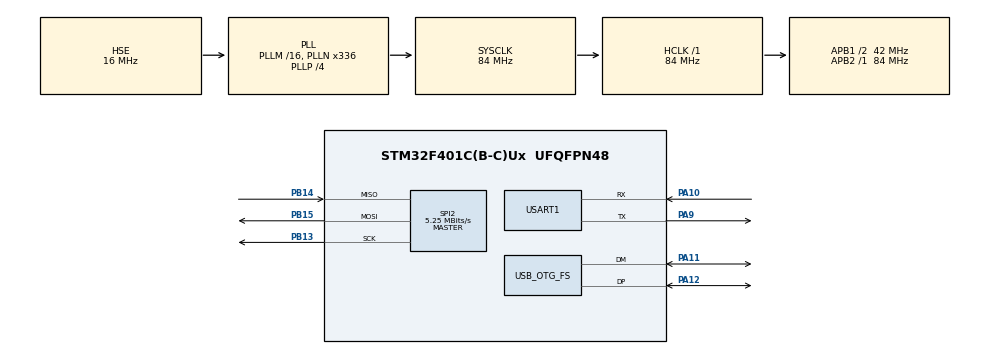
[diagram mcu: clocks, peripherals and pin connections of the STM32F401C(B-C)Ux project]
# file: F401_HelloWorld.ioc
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FREERTOS.Tasks01=defaultTask,24,128,StartDefaultTask,Default,NULL,Dynamic,NULL,NULL
FREERTOS.configCHECK_FOR_STACK_OVERFLOW=2
FREERTOS.configENABLE_FPU=1
FREERTOS.configTOTAL_HEAP_SIZE=8192
Mcu.Family=STM32F4
Mcu.Name=STM32F401C(B-C)Ux
Mcu.Package=UFQFPN48
NVIC.OTG_FS_IRQn=true\:5\:0\:false\:false\:true\:true\:false\:true\:true
NVIC.PriorityGroup=NVIC_PRIORITYGROUP_4
NVIC.TIM2_IRQn=true\:15\:0\:false\:false\:true\:false\:false\:true\:true
NVIC.TimeBase=TIM2_IRQn
NVIC.TimeBaseIP=TIM2
PA0-WKUP.Mode=SYS_WakeUp0
PA0-WKUP.Signal=SYS_WKUP
PA10.Mode=Asynchronous
PA10.Signal=USART1_RX
PA11.Mode=Device_Only
PA11.Signal=USB_OTG_FS_DM
PA12.Mode=Device_Only
PA12.Signal=USB_OTG_FS_DP
PA13.Mode=Serial_Wire
PA13.Signal=SYS_JTMS-SWDIO
PA14.Mode=Serial_Wire
PA14.Signal=SYS_JTCK-SWCLK
PA9.Mode=Asynchronous
PA9.Signal=USART1_TX
PB13.Mode=Full_Duplex_Master
PB13.Signal=SPI2_SCK
PB14.Mode=Full_Duplex_Master
PB14.Signal=SPI2_MISO
PB15.Mode=Full_Duplex_Master
PB15.Signal=SPI2_MOSI
PH0\ -\ OSC_IN.Mode=HSE-External-Oscillator
PH0\ -\ OSC_IN.Signal=RCC_OSC_IN
PH1\ -\ OSC_OUT.Mode=HSE-External-Oscillator
PH1\ -\ OSC_OUT.Signal=RCC_OSC_OUT
ProjectManager.HeapSize=0x200
ProjectManager.StackSize=0x400
ProjectManager.TargetToolchain=STM32CubeIDE
RCC.48MHZClocksFreq_Value=48000000
RCC.AHBFreq_Value=84000000
RCC.APB1CLKDivider=RCC_HCLK_DIV2
RCC.APB1Freq_Value=42000000
RCC.APB1TimFreq_Value=84000000
RCC.APB2Freq_Value=84000000
RCC.APB2TimFreq_Value=84000000
RCC.CortexFreq_Value=84000000
RCC.HCLKFreq_Value=84000000
RCC.HSE_VALUE=16000000
RCC.HSI_VALUE=16000000
RCC.LSE_VALUE=32768
RCC.PLLN=336
RCC.PLLP=RCC_PLLP_DIV4
RCC.PLLQ=7
RCC.SYSCLKFreq_VALUE=84000000
RCC.SYSCLKSource=RCC_SYSCLKSOURCE_PLLCLK
RCC.VCOOutputFreq_Value=336000000
SPI2.BaudRatePrescaler=SPI_BAUDRATEPRESCALER_8
SPI2.CLKPhase=SPI_PHASE_2EDGE
SPI2.CLKPolarity=SPI_POLARITY_HIGH
SPI2.CalculateBaudRate=5.25 MBits/s
SPI2.Direction=SPI_DIRECTION_2LINES
SPI2.Mode=SPI_MODE_MASTER
SPI2.VirtualType=VM_MASTER
USART1.VirtualMode=VM_ASYNC
USB_DEVICE.CLASS_NAME_FS=CDC
USB_DEVICE.VirtualMode=Cdc
USB_DEVICE.VirtualModeFS=Cdc_FS
USB_OTG_FS.VirtualMode=Device_Only
VP_FREERTOS_VS_CMSIS_V2.Mode=CMSIS_V2
VP_SYS_VS_tim2.Mode=TIM2
VP_USB_DEVICE_VS_USB_DEVICE_CDC_FS.Mode=CDC_FS
board=custom

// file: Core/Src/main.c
/* USER CODE BEGIN Header */
/**
 ******************************************************************************
 * @file           : main.c
 * @brief          : Main program body
 ******************************************************************************
 * @attention
 *
 * Copyright (c) 2026 STMicroelectronics.
 * All rights reserved.
 *
 * This software is licensed under terms that can be found in the LICENSE file
 * in the root directory of this software component.
 * If no LICENSE file comes with this software, it is provided AS-IS.
 *
 ******************************************************************************
 */
/* USER CODE END Header */
#include "main.h"
#include "cmsis_os.h"
#include "usb_device.h"
#include "FreeRTOS.h"
/* USER CODE BEGIN Includes */
#include "lsm6dsr.h"

/* USER CODE END Includes */

SPI_HandleTypeDef hspi2;

UART_HandleTypeDef huart1;

/* Definitions for defaultTask */
osThreadId_t defaultTaskHandle;
const osThreadAttr_t defaultTask_attributes = {.name = "defaultTask", .stack_size = 128
		* 4, .priority = (osPriority_t) osPriorityNormal, };

void SystemClock_Config(void);
static void MX_GPIO_Init(void);
static void MX_SPI2_Init(void);
static void MX_USART1_UART_Init(void);
void StartDefaultTask(void *argument);

extern void applicationInit();

/* USER CODE BEGIN PFP */
static int32_t MX_LSM6DSR_Init(void);
void MX_PA8_CS_Init(void);
void MX_PC13_CS_Init(void);
void MX_PB4_5_LED_Init(void);
static void imu_uart_send_line(float ax_g, float ay_g, float az_g, float gx_dps,
		float gy_dps, float gz_dps);
void MX_PB6789_MOTOR_Init();
/* USER CODE END PFP */

/* USER CODE BEGIN 0 */

int main(void)
{
	HAL_Init();
	SystemClock_Config();
	MX_GPIO_Init();
	MX_USART1_UART_Init();
	MX_PA8_CS_Init();
	MX_PC13_CS_Init();
	MX_SPI2_Init();
	MX_PB4_5_LED_Init();
//	MX_PB6789_MOTOR_Init();

	osKernelInitialize();

	applicationInit();

	osKernelStart();

	while (1);

}

void MX_PB6789_MOTOR_Init(void)
{
	GPIO_InitTypeDef GPIO_InitStruct = {0};

	/* Enable GPIOA clock */
	__HAL_RCC_GPIOB_CLK_ENABLE();
	/* Set CS high before fully configuring, so the sensor stays deselected */
	HAL_GPIO_WritePin(GPIOB, GPIO_PIN_6, GPIO_PIN_SET);
	HAL_GPIO_WritePin(GPIOB, GPIO_PIN_7, GPIO_PIN_SET);
	HAL_GPIO_WritePin(GPIOB, GPIO_PIN_8, GPIO_PIN_SET);
	HAL_GPIO_WritePin(GPIOB, GPIO_PIN_9, GPIO_PIN_SET);

	/* Configure PB6 as output push-pull */
	GPIO_InitStruct.Pin = GPIO_PIN_6;
	GPIO_InitStruct.Mode = GPIO_MODE_OUTPUT_PP;
	GPIO_InitStruct.Pull = GPIO_PULLDOWN;
	GPIO_InitStruct.Speed = GPIO_SPEED_FREQ_MEDIUM;
	HAL_GPIO_Init(GPIOB, &GPIO_InitStruct);
//
//	/* Configure PB7 as output push-pull */
	GPIO_InitStruct.Pin = GPIO_PIN_7;
	GPIO_InitStruct.Mode = GPIO_MODE_OUTPUT_PP;
	GPIO_InitStruct.Pull = GPIO_PULLDOWN;
	GPIO_InitStruct.Speed = GPIO_SPEED_FREQ_MEDIUM;
	HAL_GPIO_Init(GPIOB, &GPIO_InitStruct);
//
//	/* Configure PB8 as output push-pull */
	GPIO_InitStruct.Pin = GPIO_PIN_8;
	GPIO_InitStruct.Mode = GPIO_MODE_OUTPUT_PP;
	GPIO_InitStruct.Pull = GPIO_PULLDOWN;
	GPIO_InitStruct.Speed = GPIO_SPEED_FREQ_MEDIUM;
	HAL_GPIO_Init(GPIOB, &GPIO_InitStruct);

	/* Configure PB9 as output push-pull */
	GPIO_InitStruct.Pin = GPIO_PIN_9;
	GPIO_InitStruct.Mode = GPIO_MODE_OUTPUT_PP;
	GPIO_InitStruct.Pull = GPIO_PULLDOWN;
	GPIO_InitStruct.Speed = GPIO_SPEED_FREQ_MEDIUM;
	HAL_GPIO_Init(GPIOB, &GPIO_InitStruct);

}

void MX_PA8_CS_Init(void)
{
	GPIO_InitTypeDef GPIO_InitStruct = {0};

	/* Enable GPIOA clock */
	__HAL_RCC_GPIOA_CLK_ENABLE();
	/* Set CS high before fully configuring, so the sensor stays deselected */
	HAL_GPIO_WritePin(GPIOA, GPIO_PIN_8, GPIO_PIN_SET);

	/* Configure PA8 as output push-pull */
	GPIO_InitStruct.Pin = GPIO_PIN_8;
	GPIO_InitStruct.Mode = GPIO_MODE_OUTPUT_PP;
	GPIO_InitStruct.Pull = GPIO_NOPULL;
	GPIO_InitStruct.Speed = GPIO_SPEED_FREQ_HIGH;
	HAL_GPIO_Init(GPIOA, &GPIO_InitStruct);
}

/**
 * @brief Configures CS for LPS22HH sensor
 */
void MX_PC13_CS_Init(void)
{
	GPIO_InitTypeDef GPIO_InitStruct = {0};

	/* Enable GPIOA clock */
	__HAL_RCC_GPIOC_CLK_ENABLE();
	/* Set CS high before fully configuring, so the sensor stays deselected */
	HAL_GPIO_WritePin(GPIOC, GPIO_PIN_13, GPIO_PIN_SET);

	/* Configure PC13 as output push-pull */
	GPIO_InitStruct.Pin = GPIO_PIN_13;
	GPIO_InitStruct.Mode = GPIO_MODE_OUTPUT_PP;
	GPIO_InitStruct.Pull = GPIO_NOPULL;
	GPIO_InitStruct.Speed = GPIO_SPEED_FREQ_HIGH;
	HAL_GPIO_Init(GPIOC, &GPIO_InitStruct);
}

/**
 * @brief Configure PB4 and PB5 for user LEDs
 */
void MX_PB4_5_LED_Init(void)
{
	GPIO_InitTypeDef GPIO_InitStruct = {0};

	/* Enable GPIOA clock */
	__HAL_RCC_GPIOB_CLK_ENABLE();
	/* Set CS high before fully configuring, so the sensor stays deselected */
	HAL_GPIO_WritePin(GPIOB, GPIO_PIN_4, GPIO_PIN_SET);
	HAL_GPIO_WritePin(GPIOB, GPIO_PIN_5, GPIO_PIN_SET);

	/* Configure PB4 as output push-pull */
	GPIO_InitStruct.Pin = GPIO_PIN_4;
	GPIO_InitStruct.Mode = GPIO_MODE_OUTPUT_PP;
	GPIO_InitStruct.Pull = GPIO_PULLDOWN;
	GPIO_InitStruct.Speed = GPIO_SPEED_FREQ_HIGH;
	HAL_GPIO_Init(GPIOB, &GPIO_InitStruct);

	GPIO_InitStruct.Pin = GPIO_PIN_5;
	GPIO_InitStruct.Mode = GPIO_MODE_OUTPUT_PP;
	GPIO_InitStruct.Pull = GPIO_PULLDOWN;
	GPIO_InitStruct.Speed = GPIO_SPEED_FREQ_HIGH;
	HAL_GPIO_Init(GPIOB, &GPIO_InitStruct);

}

void SystemClock_Config(void)
{
	RCC_OscInitTypeDef RCC_OscInitStruct = {0};
	RCC_ClkInitTypeDef RCC_ClkInitStruct = {0};

	/** Configure the main internal regulator output voltage
	 */
	__HAL_RCC_PWR_CLK_ENABLE();
	__HAL_PWR_VOLTAGESCALING_CONFIG(PWR_REGULATOR_VOLTAGE_SCALE2);

	/** Initializes the RCC Oscillators according to the specified parameters
	 * in the RCC_OscInitTypeDef structure.
	 */
	RCC_OscInitStruct.OscillatorType = RCC_OSCILLATORTYPE_HSE;
	RCC_OscInitStruct.HSEState = RCC_HSE_ON;
	RCC_OscInitStruct.PLL.PLLState = RCC_PLL_ON;
	RCC_OscInitStruct.PLL.PLLSource = RCC_PLLSOURCE_HSE;
	RCC_OscInitStruct.PLL.PLLM = 16;
	RCC_OscInitStruct.PLL.PLLN = 336;
	RCC_OscInitStruct.PLL.PLLP = RCC_PLLP_DIV4;
	RCC_OscInitStruct.PLL.PLLQ = 7;
	if (HAL_RCC_OscConfig(&RCC_OscInitStruct) != HAL_OK)
	{
		Error_Handler();
	}

	/** Initializes the CPU, AHB and APB buses clocks
	 */
	RCC_ClkInitStruct.ClockType = RCC_CLOCKTYPE_HCLK | RCC_CLOCKTYPE_SYSCLK
			| RCC_CLOCKTYPE_PCLK1 | RCC_CLOCKTYPE_PCLK2;
	RCC_ClkInitStruct.SYSCLKSource = RCC_SYSCLKSOURCE_PLLCLK;
	RCC_ClkInitStruct.AHBCLKDivider = RCC_SYSCLK_DIV1;
	RCC_ClkInitStruct.APB1CLKDivider = RCC_HCLK_DIV2;
	RCC_ClkInitStruct.APB2CLKDivider = RCC_HCLK_DIV1;

	if (HAL_RCC_ClockConfig(&RCC_ClkInitStruct, FLASH_LATENCY_2) != HAL_OK)
	{
		Error_Handler();
	}
}

static void MX_SPI2_Init(void)
{

	/* SPI2 parameter configuration*/
	hspi2.Instance = SPI2;
	hspi2.Init.Mode = SPI_MODE_MASTER;
	hspi2.Init.Direction = SPI_DIRECTION_2LINES;
	hspi2.Init.DataSize = SPI_DATASIZE_8BIT;
	hspi2.Init.CLKPolarity = SPI_POLARITY_HIGH;
	hspi2.Init.CLKPhase = SPI_PHASE_2EDGE;
	hspi2.Init.NSS = SPI_NSS_SOFT;
	hspi2.Init.BaudRatePrescaler = SPI_BAUDRATEPRESCALER_8;
	hspi2.Init.FirstBit = SPI_FIRSTBIT_MSB;
	hspi2.Init.TIMode = SPI_TIMODE_DISABLE;
	hspi2.Init.CRCCalculation = SPI_CRCCALCULATION_DISABLE;
	hspi2.Init.CRCPolynomial = 10;
	if (HAL_SPI_Init(&hspi2) != HAL_OK)
	{
		Error_Handler();
	}

}

static void MX_USART1_UART_Init(void)
{

	huart1.Instance = USART1;
	huart1.Init.BaudRate = 115200;
	huart1.Init.WordLength = UART_WORDLENGTH_8B;
	huart1.Init.StopBits = UART_STOPBITS_1;
	huart1.Init.Parity = UART_PARITY_NONE;
	huart1.Init.Mode = UART_MODE_TX_RX;
	huart1.Init.HwFlowCtl = UART_HWCONTROL_NONE;
	huart1.Init.OverSampling = UART_OVERSAMPLING_16;
	if (HAL_UART_Init(&huart1) != HAL_OK)
	{
		Error_Handler();
	}

}

static void MX_GPIO_Init(void)
{

	/* GPIO Ports Clock Enable */
	__HAL_RCC_GPIOH_CLK_ENABLE();
	__HAL_RCC_GPIOA_CLK_ENABLE();
	__HAL_RCC_GPIOB_CLK_ENABLE();

}

void StartDefaultTask(void *argument)
{
	/* init code for USB_DEVICE */
	MX_USB_DEVICE_Init();
	for (;;)
	{
		osDelay(1);
	}
}

void HAL_TIM_PeriodElapsedCallback(TIM_HandleTypeDef *htim)
{
	if (htim->Instance == TIM2)
	{
		HAL_IncTick();
	}
}

void Error_Handler(void)
{
	__disable_irq();
	while (1)
	{
	}
}

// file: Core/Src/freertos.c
/* USER CODE BEGIN Header */
/**
  ******************************************************************************
  * File Name          : freertos.c
  * Description        : Code for freertos applications
  ******************************************************************************
  * @attention
  *
  * Copyright (c) 2026 STMicroelectronics.
  * All rights reserved.
  *
  * This software is licensed under terms that can be found in the LICENSE file
  * in the root directory of this software component.
  * If no LICENSE file comes with this software, it is provided AS-IS.
  *
  ******************************************************************************
  */
/* USER CODE END Header */

#include "FreeRTOS.h"
#include "task.h"
#include "main.h"
#include <stdio.h>

/* USER CODE BEGIN Includes */
#include "cmsis_os2.h"
#include <stdbool.h>
#include "lsm6dsr.h"
#include "lps22hh.h"
#include <string.h>
#include <math.h>
#include <assert.h>

#define USER_LED_1_PORT (GPIOB)
#define USER_LED_2_PORT (GPIOB)
#define USER_LED_1_PIN  (GPIO_PIN_4)
#define USER_LED_2_PIN  (GPIO_PIN_5)

#define IMU_CS_PORT  GPIOA
#define IMU_CS_PIN   GPIO_PIN_8
#define BARO_CS_PORT GPIOC
#define BARO_CS_PIN  GPIO_PIN_13

#define IMU_TASK_PERIOD_MS (10)
#define IMU_TASK_PERIOD_S  (10.0f / 1000.0f)

#define GRAVITY_MPS2  (9.80665f)
#define DEG_TO_RAD    (0.01745329252f)
#define SEA_LEVEL_HPA (1013.25f)

extern SPI_HandleTypeDef hspi2;
extern UART_HandleTypeDef huart1;

static void imu_stats_send_line(void);

typedef struct
{
	SPI_HandleTypeDef *hspi;
	GPIO_TypeDef *cs_port;
	uint16_t cs_pin;
} spi_device_t;

typedef struct
{
	uint32_t timestamp_us;

	int32_t accel_x_mg;
	int32_t accel_y_mg;
	int32_t accel_z_mg;

	int32_t gyro_x_mdps;
	int32_t gyro_y_mdps;
	int32_t gyro_z_mdps;

	uint8_t accel_ready;
	uint8_t gyro_ready;
} raw_imu_sample_t;

typedef struct
{
	uint32_t timestamp_us;

	float accel_x_g;
	float accel_y_g;
	float accel_z_g;

	float accel_x_mps2;
	float accel_y_mps2;
	float accel_z_mps2;

	float gyro_x_dps;
	float gyro_y_dps;
	float gyro_z_dps;

	float gyro_x_rps;
	float gyro_y_rps;
	float gyro_z_rps;
} processed_imu_sample_t;

typedef struct
{
	uint32_t timestamp_us;

	float pressure_hpa;
	float temperature_c;

	uint8_t pressure_ready;
	uint8_t temperature_ready;
} raw_baro_sample_t;

typedef struct
{
	uint32_t timestamp_us;

	float pressure_hpa;
	float temperature_c;
	float altitude_m;
} processed_baro_sample_t;

/*typedef enum
{
    DEBUG_OUT_RAW_IMU = 0,
    DEBUG_OUT_PROC_IMU,
    DEBUG_OUT_PROC_BARO
} debug_output_mode_t; */

typedef enum
{
    DEBUG_OUT_RAW_IMU = 0,
    DEBUG_OUT_PROC_IMU,
    DEBUG_OUT_PROC_BARO,
    DEBUG_OUT_STAT
} debug_output_mode_t;

static volatile debug_output_mode_t g_debug_output_mode = DEBUG_OUT_RAW_IMU;  // chnage this to whicheverr macro absed on what u wanna see

static LSM6DSR_Object_t MotionSensor;
static LPS22HH_Object_t BaroSensor;

static spi_device_t imu_dev  = { .hspi = &hspi2, .cs_port = IMU_CS_PORT,  .cs_pin = IMU_CS_PIN };
static spi_device_t baro_dev = { .hspi = &hspi2, .cs_port = BARO_CS_PORT, .cs_pin = BARO_CS_PIN };

static raw_imu_sample_t       g_raw_imu       = {0};
static processed_imu_sample_t g_processed_imu = {0};
static raw_baro_sample_t      g_raw_baro      = {0};
static processed_baro_sample_t g_processed_baro = {0};

static float g_gyro_bias_x_mdps = 0.0f;
static float g_gyro_bias_y_mdps = 0.0f;
static float g_gyro_bias_z_mdps = 0.0f;

static uint32_t g_imu_task_loops  = 0;
static uint32_t g_acc_ready_count = 0;
static uint32_t g_gyro_ready_count = 0;
static uint32_t g_acc_read_count  = 0;
static uint32_t g_gyro_read_count = 0;

static inline void setUserLEDOne(uint8_t state)
{
	HAL_GPIO_WritePin(USER_LED_1_PORT, USER_LED_1_PIN, state ? GPIO_PIN_RESET : GPIO_PIN_SET);
}

static inline void setUserLEDTwo(uint8_t state)
{
	HAL_GPIO_WritePin(USER_LED_2_PORT, USER_LED_2_PIN, state ? GPIO_PIN_RESET : GPIO_PIN_SET);
}

static inline uint32_t micros(void)
{
	return (uint32_t)((HAL_GetTick() * 1000U) +
			((SysTick->LOAD - SysTick->VAL) * 1000U) / (SysTick->LOAD + 1U));
}

static void spi2_deselect_all(void)
{
	HAL_GPIO_WritePin(IMU_CS_PORT, IMU_CS_PIN, GPIO_PIN_SET);
	HAL_GPIO_WritePin(BARO_CS_PORT, BARO_CS_PIN, GPIO_PIN_SET);
}

static void spi_dev_select(spi_device_t *dev)
{
	spi2_deselect_all();
	HAL_GPIO_WritePin(dev->cs_port, dev->cs_pin, GPIO_PIN_RESET);
}

static void spi_dev_deselect(spi_device_t *dev)
{
	HAL_GPIO_WritePin(dev->cs_port, dev->cs_pin, GPIO_PIN_SET);
}

static int32_t BSP_SPI2_Init(void)
{
	spi2_deselect_all();
	return 0;
}

static int32_t BSP_SPI2_DeInit(void)
{
	spi2_deselect_all();
	return 0;
}

static int32_t spi_bus_read_reg(spi_device_t *dev, uint8_t reg, uint8_t *pData, uint16_t Length)
{
	uint8_t txbuf[32];
	uint8_t rxbuf[32];

	if (Length == 0 || Length > (sizeof(txbuf) - 1))
		return LSM6DSR_ERROR;

	txbuf[0] = reg | 0x80;
	memset(&txbuf[1], 0x00, Length);
	memset(rxbuf, 0x00, Length + 1);

	spi_dev_select(dev);

	if (HAL_SPI_TransmitReceive(dev->hspi, txbuf, rxbuf, Length + 1, 100) != HAL_OK)
	{
		spi_dev_deselect(dev);
		return LSM6DSR_ERROR;
	}

	spi_dev_deselect(dev);
	memcpy(pData, &rxbuf[1], Length);
	return LSM6DSR_OK;
}

static int32_t spi_bus_write_reg(spi_device_t *dev, uint8_t reg, uint8_t *pData, uint16_t Length)
{
	uint8_t txbuf[32];

	if (Length == 0 || Length > (sizeof(txbuf) - 1))
		return LSM6DSR_ERROR;

	txbuf[0] = reg;
	memcpy(&txbuf[1], pData, Length);

	spi_dev_select(dev);

	if (HAL_SPI_Transmit(dev->hspi, txbuf, Length + 1, 100) != HAL_OK)
	{
		spi_dev_deselect(dev);
		return LSM6DSR_ERROR;
	}

	spi_dev_deselect(dev);
	return LSM6DSR_OK;
}

/* IMU-specific wrappers */
static int32_t IMU_SPI2_ReadReg(uint16_t Addr, uint16_t Reg, uint8_t *pData, uint16_t Length)
{
	(void)Addr;
	return spi_bus_read_reg(&imu_dev, (uint8_t)Reg, pData, Length);
}

static int32_t IMU_SPI2_WriteReg(uint16_t Addr, uint16_t Reg, uint8_t *pData, uint16_t Length)
{
	(void)Addr;
	return spi_bus_write_reg(&imu_dev, (uint8_t)Reg, pData, Length);
}

/* Barometer-specific wrappers */
static int32_t BARO_SPI2_ReadReg(uint16_t Addr, uint16_t Reg, uint8_t *pData, uint16_t Length)
{
	(void)Addr;
	return spi_bus_read_reg(&baro_dev, (uint8_t)Reg, pData, Length);
}

static int32_t BARO_SPI2_WriteReg(uint16_t Addr, uint16_t Reg, uint8_t *pData, uint16_t Length)
{
	(void)Addr;
	return spi_bus_write_reg(&baro_dev, (uint8_t)Reg, pData, Length);
}

static int32_t MX_LSM6DSR_Init(void)
{
	LSM6DSR_IO_t io_ctx;
	uint8_t id = 0;
	int32_t fullScale = 2;

	io_ctx.Init     = BSP_SPI2_Init;
	io_ctx.DeInit   = BSP_SPI2_DeInit;
	io_ctx.BusType  = LSM6DSR_SPI_4WIRES_BUS;
	io_ctx.Address  = 0;
	io_ctx.WriteReg = IMU_SPI2_WriteReg;
	io_ctx.ReadReg  = IMU_SPI2_ReadReg;

	if (LSM6DSR_RegisterBusIO(&MotionSensor, &io_ctx) != LSM6DSR_OK)
		return LSM6DSR_ERROR;
	if (LSM6DSR_Init(&MotionSensor) != LSM6DSR_OK)
		return LSM6DSR_ERROR;
	if (LSM6DSR_ReadID(&MotionSensor, &id) != LSM6DSR_OK)
		return LSM6DSR_ERROR;

	if (id != 0x6B)
		return LSM6DSR_ERROR;

	if (LSM6DSR_ACC_Enable(&MotionSensor) != LSM6DSR_OK)
		return LSM6DSR_ERROR;
	if (LSM6DSR_GYRO_Enable(&MotionSensor) != LSM6DSR_OK)
		return LSM6DSR_ERROR;

	if (LSM6DSR_ACC_SetOutputDataRate(&MotionSensor, 104.0f) != LSM6DSR_OK)
		return LSM6DSR_ERROR;
	if (LSM6DSR_ACC_SetFullScale(&MotionSensor, fullScale) != LSM6DSR_OK)
		return LSM6DSR_ERROR;

	if (LSM6DSR_GYRO_SetOutputDataRate(&MotionSensor, 104.0f) != LSM6DSR_OK)
		return LSM6DSR_ERROR;
	if (LSM6DSR_GYRO_SetFullScale(&MotionSensor, LSM6DSR_250dps) != LSM6DSR_OK)
		return LSM6DSR_ERROR;

	return LSM6DSR_OK;
}

static int32_t MX_LPS22HH_Init(void)
{
	LPS22HH_IO_t io_ctx;
	uint8_t id = 0;

	io_ctx.Init     = BSP_SPI2_Init;
	io_ctx.DeInit   = BSP_SPI2_DeInit;
	io_ctx.BusType  = LPS22HH_SPI_4WIRES_BUS;
	io_ctx.Address  = 0;
	io_ctx.WriteReg = BARO_SPI2_WriteReg;
	io_ctx.ReadReg  = BARO_SPI2_ReadReg;
	io_ctx.Delay    = HAL_Delay;

	if (LPS22HH_RegisterBusIO(&BaroSensor, &io_ctx) != LPS22HH_OK)
		return LPS22HH_ERROR;
	if (LPS22HH_Init(&BaroSensor) != LPS22HH_OK)
		return LPS22HH_ERROR;
	if (LPS22HH_ReadID(&BaroSensor, &id) != LPS22HH_OK)
		return LPS22HH_ERROR;

	if (id != 0xB3)
		return LPS22HH_ERROR;

	if (LPS22HH_PRESS_Enable(&BaroSensor) != LPS22HH_OK)
		return LPS22HH_ERROR;
	if (LPS22HH_TEMP_Enable(&BaroSensor) != LPS22HH_OK)
		return LPS22HH_ERROR;

	if (lps22hh_lp_bandwidth_set(&(BaroSensor.Ctx), LPS22HH_LPF_ODR_DIV_9) != LPS22HH_OK)
		return LPS22HH_ERROR;

	if (LPS22HH_PRESS_SetOutputDataRate(&BaroSensor, 10.0f) != LPS22HH_OK)
		return LPS22HH_ERROR;
	if (LPS22HH_TEMP_SetOutputDataRate(&BaroSensor, 10.0f) != LPS22HH_OK)
		return LPS22HH_ERROR;

	return LPS22HH_OK;
}

static void preprocess_imu_sample(const raw_imu_sample_t *raw, processed_imu_sample_t *proc)
{
	proc->timestamp_us = raw->timestamp_us;

	proc->accel_x_g = raw->accel_x_mg / 1000.0f;
	proc->accel_y_g = raw->accel_y_mg / 1000.0f;
	proc->accel_z_g = raw->accel_z_mg / 1000.0f;

	proc->accel_x_mps2 = proc->accel_x_g * GRAVITY_MPS2;
	proc->accel_y_mps2 = proc->accel_y_g * GRAVITY_MPS2;
	proc->accel_z_mps2 = proc->accel_z_g * GRAVITY_MPS2;

	proc->gyro_x_dps = (raw->gyro_x_mdps - g_gyro_bias_x_mdps) / 1000.0f;
	proc->gyro_y_dps = (raw->gyro_y_mdps - g_gyro_bias_y_mdps) / 1000.0f;
	proc->gyro_z_dps = (raw->gyro_z_mdps - g_gyro_bias_z_mdps) / 1000.0f;

	proc->gyro_x_rps = proc->gyro_x_dps * DEG_TO_RAD;
	proc->gyro_y_rps = proc->gyro_y_dps * DEG_TO_RAD;
	proc->gyro_z_rps = proc->gyro_z_dps * DEG_TO_RAD;
}

static float pressure_to_altitude_m(float pressure_hpa)
{
	if (pressure_hpa <= 0.0f)
	{
		return 0.0f;
	}

	return 44330.0f * (1.0f - powf(pressure_hpa / SEA_LEVEL_HPA, 0.1903f));
}

static void preprocess_baro_sample(const raw_baro_sample_t *raw, processed_baro_sample_t *proc)
{
	proc->timestamp_us = raw->timestamp_us;
	proc->pressure_hpa = raw->pressure_hpa;
	proc->temperature_c = raw->temperature_c;
	proc->altitude_m = pressure_to_altitude_m(raw->pressure_hpa);
}

static void imu_uart_send_raw_line(const LSM6DSR_Axes_t *accel_raw, const LSM6DSR_Axes_t *gyro_raw)
{
	char buf[128];

	int len = snprintf(buf, sizeof(buf),
			"IMU,%.4f,%.4f,%.4f,%.4f,%.4f,%.4f\r\n",
			accel_raw->x / 1000.0f,
			accel_raw->y / 1000.0f,
			accel_raw->z / 1000.0f,
			gyro_raw->x / 1000.0f,
			gyro_raw->y / 1000.0f,
			gyro_raw->z / 1000.0f);

	if (len > 0)
	{
		HAL_UART_Transmit(&huart1, (uint8_t *)buf, (uint16_t)len, 100);
	}
}

static void imu_uart_send_processed_line(const processed_imu_sample_t *imu)
{
	char buf[160];

	int len = snprintf(buf, sizeof(buf),
			"PROC,%.4f,%.4f,%.4f,%.4f,%.4f,%.4f\r\n",
			imu->accel_x_mps2,
			imu->accel_y_mps2,
			imu->accel_z_mps2,
			imu->gyro_x_rps,
			imu->gyro_y_rps,
			imu->gyro_z_rps);

	if (len > 0)
	{
		HAL_UART_Transmit(&huart1, (uint8_t *)buf, (uint16_t)len, 100);
	}
}

static void baro_uart_send_processed_line(const processed_baro_sample_t *baro)
{
	char buf[128];

	int len = snprintf(buf, sizeof(buf),
			"BAROP,%.2f,%.2f,%.2f\r\n",
			baro->pressure_hpa,
			baro->temperature_c,
			baro->altitude_m);

	if (len > 0)
	{
		HAL_UART_Transmit(&huart1, (uint8_t *)buf, (uint16_t)len, 100);
	}
}

static void debug_output_send_current_mode(const LSM6DSR_Axes_t *accel,
                                           const LSM6DSR_Axes_t *gyro,
                                           const processed_imu_sample_t *imu_proc,
                                           const processed_baro_sample_t *baro_proc)
{
    switch (g_debug_output_mode)
    {
        case DEBUG_OUT_RAW_IMU:
            imu_uart_send_raw_line(accel, gyro);
            break;

        case DEBUG_OUT_PROC_IMU:
            imu_uart_send_processed_line(imu_proc);
            break;

        case DEBUG_OUT_PROC_BARO:
            baro_uart_send_processed_line(baro_proc);
            break;

        case DEBUG_OUT_STAT:
            imu_stats_send_line();
            break;

        default:
            break;
    }
}

static void imu_stats_send_line(void)
{
    char buf[160];

    int len = snprintf(buf, sizeof(buf),
            "STAT,%lu,%lu,%lu,%lu,%lu\r\n",
            g_imu_task_loops,
            g_acc_ready_count,
            g_gyro_ready_count,
            g_acc_read_count,
            g_gyro_read_count);

    if (len > 0)
    {
        HAL_UART_Transmit(&huart1, (uint8_t *)buf, (uint16_t)len, 100);
    }
}
/* USER CODE END Includes */

/* USER CODE BEGIN PTD */
osThreadAttr_t ledHeartbeatAttr = { .name = "ledHeartbeat", .priority = osPriorityLow };
osThreadId_t ledHeartbeatID;

osThreadAttr_t flightControlTaskAttr = { .name = "flightControl", .priority = osPriorityRealtime };
osThreadId_t flightControlTaskID;

osThreadAttr_t imuAcquisitionTaskAttr = { .name = "imuAcquisition", .priority = osPriorityRealtime, .stack_size = 1536 };
osThreadId_t imuAcquisitionTaskID;

osThreadAttr_t uartCommTaskAttr = { .name = "uartCommTask", .priority = osPriorityRealtime, .stack_size = 1536 };
osThreadId_t uartCommTaskID;
/* USER CODE END PTD */

/* USER CODE BEGIN FunctionPrototypes */
void applicationInit(void);
void ledHeartbeatTask(void *argument);
void uartCommTask(void *argument);
void IMUAcquisitionTask(void *argument);
void flightControlTask(void *argument);

/* USER CODE END FunctionPrototypes */

/* Hook prototypes */
void vApplicationStackOverflowHook(xTaskHandle xTask, signed char *pcTaskName);

/* USER CODE BEGIN 4 */
void vApplicationStackOverflowHook(xTaskHandle xTask, signed char *pcTaskName)
{
	(void)xTask;
	(void)pcTaskName;
	__disable_irq();
	while (1)
	{
	}
}

static void calibrate_gyro_bias(void)
{
    const uint32_t num_samples = 300;
    uint32_t collected = 0;

    int64_t sum_x = 0;
    int64_t sum_y = 0;
    int64_t sum_z = 0;

    LSM6DSR_Axes_t gyro = {0};
    uint8_t gyro_ready = 0;

    /* Small startup settle time */
    HAL_Delay(500);

    while (collected < num_samples)
    {
        LSM6DSR_GYRO_Get_DRDY_Status(&MotionSensor, &gyro_ready);

        if (gyro_ready)
        {
            if (LSM6DSR_GYRO_GetAxes(&MotionSensor, &gyro) == LSM6DSR_OK)
            {
                sum_x += gyro.x;
                sum_y += gyro.y;
                sum_z += gyro.z;
                collected++;
            }
        }

        HAL_Delay(2);
    }

    g_gyro_bias_x_mdps = (float)sum_x / (float)num_samples;
    g_gyro_bias_y_mdps = (float)sum_y / (float)num_samples;
    g_gyro_bias_z_mdps = (float)sum_z / (float)num_samples;
}
/* USER CODE END 4 */

/* USER CODE BEGIN Application */
void applicationInit(void)
{
	assert(MX_LSM6DSR_Init() == LSM6DSR_OK);
	assert(MX_LPS22HH_Init() == LPS22HH_OK);
	calibrate_gyro_bias();
	g_imu_task_loops = 0;
	g_acc_ready_count = 0;
	g_gyro_ready_count = 0;
	g_acc_read_count = 0;
	g_gyro_read_count = 0;

	ledHeartbeatID = osThreadNew(ledHeartbeatTask, NULL, &ledHeartbeatAttr);
	assert(ledHeartbeatID != 0);

	flightControlTaskID = osThreadNew(flightControlTask, NULL, &flightControlTaskAttr);
	assert(flightControlTaskID != 0);

	imuAcquisitionTaskID = osThreadNew(IMUAcquisitionTask, NULL, &imuAcquisitionTaskAttr);
	assert(imuAcquisitionTaskID != 0);

	uartCommTaskID = osThreadNew(uartCommTask, NULL, &uartCommTaskAttr);
	assert(uartCommTaskID != 0);
}

void ledHeartbeatTask(void *argument)
{
	(void)argument;
	static bool ledState = false;

	while (1)
	{
		setUserLEDOne(ledState);
		ledState = !ledState;
		osDelay(500);
	}
}

void uartCommTask(void *argument)
{
	(void)argument;

	while (1)
	{
		HAL_GPIO_WritePin(GPIOB, GPIO_PIN_6, GPIO_PIN_SET);
		HAL_GPIO_WritePin(GPIOB, GPIO_PIN_7, GPIO_PIN_SET);
		HAL_GPIO_WritePin(GPIOB, GPIO_PIN_8, GPIO_PIN_SET);
		HAL_GPIO_WritePin(GPIOB, GPIO_PIN_9, GPIO_PIN_SET);
		osDelay(10);
	}
}

void IMUAcquisitionTask(void *argument)
{
	(void)argument;

	LSM6DSR_Axes_t accel = {0};
	LSM6DSR_Axes_t gyro = {0};
	float pressure_hpa = 0.0f;
	float temperature_c = 0.0f;

	uint8_t acc_ready = 0;
	uint8_t gyro_ready = 0;
	uint8_t press_ready = 0;
	uint8_t temp_ready = 0;

	while (1)
	{
		setUserLEDTwo(0);
		g_imu_task_loops++;  // to count how many times this runs to see if were missing aby samples

		LSM6DSR_ACC_Get_DRDY_Status(&MotionSensor, &acc_ready);
		LSM6DSR_GYRO_Get_DRDY_Status(&MotionSensor, &gyro_ready);

		if (acc_ready)
		{
		    g_acc_ready_count++;
		}

		if (gyro_ready)
		{
		    g_gyro_ready_count++;
		}

		if (acc_ready)
		{
			LSM6DSR_ACC_GetAxes(&MotionSensor, &accel);
			g_acc_read_count++;
		}

		if (gyro_ready)
		{
			LSM6DSR_GYRO_GetAxes(&MotionSensor, &gyro);
			 g_gyro_read_count++;
		}

		g_raw_imu.timestamp_us = micros();
		g_raw_imu.accel_x_mg = accel.x;
		g_raw_imu.accel_y_mg = accel.y;
		g_raw_imu.accel_z_mg = accel.z;
		g_raw_imu.gyro_x_mdps = gyro.x;
		g_raw_imu.gyro_y_mdps = gyro.y;
		g_raw_imu.gyro_z_mdps = gyro.z;
		g_raw_imu.accel_ready = acc_ready;
		g_raw_imu.gyro_ready = gyro_ready;

		preprocess_imu_sample(&g_raw_imu, &g_processed_imu);

		LPS22HH_PRESS_Get_DRDY_Status(&BaroSensor, &press_ready);
		LPS22HH_TEMP_Get_DRDY_Status(&BaroSensor, &temp_ready);

		if (press_ready)
		{
			LPS22HH_PRESS_GetPressure(&BaroSensor, &pressure_hpa);
		}

		if (temp_ready)
		{
			LPS22HH_TEMP_GetTemperature(&BaroSensor, &temperature_c);
		}

		g_raw_baro.timestamp_us = micros();
		g_raw_baro.pressure_hpa = pressure_hpa;
		g_raw_baro.temperature_c = temperature_c;
		g_raw_baro.pressure_ready = press_ready;
		g_raw_baro.temperature_ready = temp_ready;

		preprocess_baro_sample(&g_raw_baro, &g_processed_baro);

		/* Keep UART output light for now */
		//imu_uart_send_raw_line(&accel, &gyro);
		//imu_uart_send_processed_line(&g_processed_imu);
		//baro_uart_send_processed_line(&g_processed_baro);
		debug_output_send_current_mode(&accel, &gyro, &g_processed_imu, &g_processed_baro);
		setUserLEDTwo(1);
		osDelay(IMU_TASK_PERIOD_MS);
	}
}

void flightControlTask(void *argument)
{
	(void)argument;
	while (1)
	{
		osDelay(100);
	}
}
/* USER CODE END Application */
